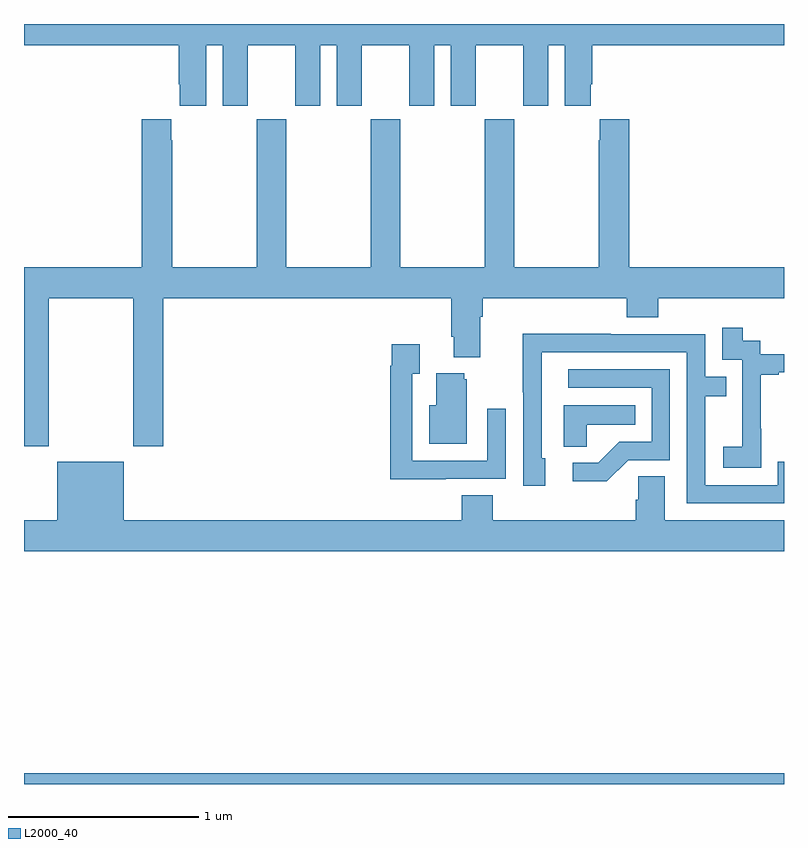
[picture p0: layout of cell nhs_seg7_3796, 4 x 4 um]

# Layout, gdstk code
import gdstk
lib = gdstk.Library(unit=1e-6, precision=1e-09)
def R(c, l, rs):  # rectangles x0, y0, x1, y1
    for r in rs: c.add(gdstk.rectangle(r[:2], r[2:], *l))
def P(c, l, *ps):  # polygons
    for p in ps: c.add(gdstk.Polygon(p, *l))
L2000_40 = (2000, 40)

nhs_seg7_3796 = lib.new_cell('nhs_seg7_3796')
R(nhs_seg7_3796, L2000_40, [(351,1058,355,1058.056)])
P(nhs_seg7_3796, L2000_40, [(351.958,1061.888),(352.046,1061.888),(352.046,1061.571),(352.177,1061.571),(352.177,1061.888),(352.427,1061.888),(352.427,1061.571),(352.558,1061.571),(352.558,1061.888),(352.646,1061.888),(352.646,1061.571),(352.777,1061.571),(352.777,1061.888),(353.027,1061.888),(353.027,1061.571),(353.158,1061.571),(353.158,1061.888),(353.246,1061.888),(353.246,1061.571),(353.377,1061.571),(353.377,1061.888),(353.627,1061.888),(353.627,1061.571),(353.758,1061.571),(353.758,1061.888),(353.846,1061.888),(353.846,1061.571),(353.983,1061.571),(353.983,1061.683),(353.99,1061.683),(353.99,1061.888),(355,1061.888),(355,1062),(351,1062),(351,1061.888),(351.815,1061.888),(351.815,1061.683),(351.821,1061.683),(351.821,1061.571),(351.958,1061.571)],
  [(351.129,1060.556),(351.574,1060.556),(351.574,1059.777),(351.734,1059.777),(351.734,1060.556),(353.249,1060.556),(353.249,1060.354),(353.261,1060.354),(353.261,1060.247),(353.401,1060.247),(353.401,1060.46),(353.414,1060.46),(353.414,1060.556),(354.173,1060.556),(354.173,1060.457),(354.338,1060.457),(354.338,1060.556),(355,1060.556),(355,1060.72),(354.185,1060.72),(354.185,1061.5),(354.029,1061.5),(354.029,1061.387),(354.025,1061.387),(354.025,1060.72),(353.58,1060.72),(353.58,1061.5),(353.425,1061.5),(353.425,1060.72),(352.98,1060.72),(352.98,1061.5),(352.825,1061.5),(352.825,1060.72),(352.38,1060.72),(352.38,1061.5),(352.225,1061.5),(352.225,1060.72),(351.78,1060.72),(351.78,1061.387),(351.775,1061.387),(351.775,1061.5),(351.62,1061.5),(351.62,1060.72),(351,1060.72),(351,1059.777),(351.129,1059.777)],
  [(354.879,1059.871),(354.878,1059.871),(354.878,1060.155),(354.973,1060.155),(354.973,1060.167),(355,1060.167),(355,1060.263),(354.876,1060.263),(354.876,1060.332),(354.784,1060.332),(354.784,1060.402),(354.675,1060.402),(354.675,1060.233),(354.78,1060.233),(354.78,1060.004),(354.779,1060.004),(354.779,1059.775),(354.681,1059.775),(354.681,1059.665),(354.879,1059.665)],
  [(355,1059.696),(354.966,1059.696),(354.966,1059.573),(354.585,1059.573),(354.585,1060.042),(354.695,1060.042),(354.695,1060.143),(354.585,1060.143),(354.585,1060.368),(354.089,1060.368),(354.089,1060.37),(353.626,1060.37),(353.626,1060.063),(353.628,1060.063),(353.628,1059.57),(353.743,1059.57),(353.743,1059.714),(353.724,1059.714),(353.724,1060.272),(354.489,1060.272),(354.489,1059.477),(355,1059.477)],
  [(353.219,1059.606),(353.535,1059.606),(353.535,1059.976),(353.439,1059.976),(353.439,1059.702),(353.043,1059.702),(353.043,1060.159),(353.083,1060.159),(353.083,1060.315),(352.935,1060.315),(352.935,1060.202),(352.927,1060.202),(352.927,1059.605),(353.219,1059.605)],
  [(354.18,1059.705),(354.399,1059.705),(354.399,1060.182),(353.865,1060.182),(353.865,1060.086),(354.303,1060.086),(354.303,1059.801),(354.134,1059.801),(354.023,1059.69),(353.889,1059.69),(353.889,1059.593),(354.067,1059.593)],
  [(353.329,1060.131),(353.318,1060.131),(353.318,1060.162),(353.171,1060.162),(353.171,1059.994),(353.132,1059.994),(353.132,1059.791),(353.329,1059.791)],
  [(353.961,1059.89),(354.218,1059.89),(354.218,1059.994),(353.84,1059.994),(353.84,1059.775),(353.961,1059.775)],
  [(355,1059.388),(354.373,1059.388),(354.373,1059.62),(354.234,1059.62),(354.234,1059.497),(354.221,1059.497),(354.221,1059.388),(353.468,1059.388),(353.468,1059.521),(353.303,1059.521),(353.303,1059.388),(351.526,1059.388),(351.526,1059.697),(351.176,1059.697),(351.176,1059.388),(351,1059.388),(351,1059.224),(355,1059.224)])

lib.write_gds('nhs_seg7_3796.gds')
